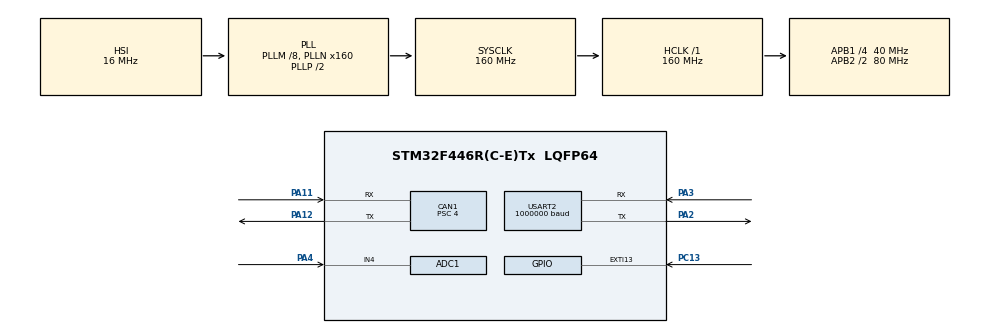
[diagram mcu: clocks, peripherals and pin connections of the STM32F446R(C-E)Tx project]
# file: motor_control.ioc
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ADC1.Channel-1\#ChannelRegularConversion=ADC_CHANNEL_4
ADC1.DMAContinuousRequests=ENABLE
ADC1.NbrOfConversionFlag=1
ADC1.Rank-1\#ChannelRegularConversion=1
ADC1.SamplingTime-1\#ChannelRegularConversion=ADC_SAMPLETIME_3CYCLES
ADC1.ScanConvMode=ENABLE
ADC1.master=1
CAN1.BS1=CAN_BS1_8TQ
CAN1.CalculateBaudRate=1000000
CAN1.CalculateTimeBit=1000
CAN1.CalculateTimeQuantum=100.0
CAN1.Prescaler=4
Dma.ADC1.2.Direction=DMA_PERIPH_TO_MEMORY
Dma.ADC1.2.FIFOMode=DMA_FIFOMODE_DISABLE
Dma.ADC1.2.Instance=DMA2_Stream0
Dma.ADC1.2.MemDataAlignment=DMA_MDATAALIGN_HALFWORD
Dma.ADC1.2.MemInc=DMA_MINC_ENABLE
Dma.ADC1.2.Mode=DMA_CIRCULAR
Dma.ADC1.2.PeriphDataAlignment=DMA_PDATAALIGN_HALFWORD
Dma.ADC1.2.PeriphInc=DMA_PINC_DISABLE
Dma.ADC1.2.Priority=DMA_PRIORITY_LOW
Dma.Request0=USART2_TX
Dma.Request1=USART2_RX
Dma.Request2=ADC1
Dma.USART2_RX.1.Direction=DMA_PERIPH_TO_MEMORY
Dma.USART2_RX.1.FIFOMode=DMA_FIFOMODE_DISABLE
Dma.USART2_RX.1.Instance=DMA1_Stream5
Dma.USART2_RX.1.MemDataAlignment=DMA_MDATAALIGN_BYTE
Dma.USART2_RX.1.MemInc=DMA_MINC_ENABLE
Dma.USART2_RX.1.Mode=DMA_CIRCULAR
Dma.USART2_RX.1.PeriphDataAlignment=DMA_PDATAALIGN_BYTE
Dma.USART2_RX.1.PeriphInc=DMA_PINC_DISABLE
Dma.USART2_RX.1.Priority=DMA_PRIORITY_LOW
Dma.USART2_TX.0.Direction=DMA_MEMORY_TO_PERIPH
Dma.USART2_TX.0.FIFOMode=DMA_FIFOMODE_DISABLE
Dma.USART2_TX.0.Instance=DMA1_Stream6
Dma.USART2_TX.0.MemDataAlignment=DMA_MDATAALIGN_BYTE
Dma.USART2_TX.0.MemInc=DMA_MINC_ENABLE
Dma.USART2_TX.0.Mode=DMA_NORMAL
Dma.USART2_TX.0.PeriphDataAlignment=DMA_PDATAALIGN_BYTE
Dma.USART2_TX.0.PeriphInc=DMA_PINC_DISABLE
Dma.USART2_TX.0.Priority=DMA_PRIORITY_LOW
Mcu.Family=STM32F4
Mcu.Name=STM32F446R(C-E)Tx
Mcu.Package=LQFP64
NVIC.CAN1_RX0_IRQn=true\:0\:0\:false\:false\:true\:true\:true\:true
NVIC.DMA1_Stream5_IRQn=true\:0\:0\:false\:false\:true\:false\:true\:true
NVIC.DMA1_Stream6_IRQn=true\:0\:0\:false\:false\:true\:false\:true\:true
NVIC.DMA2_Stream0_IRQn=true\:0\:0\:false\:false\:true\:false\:true\:true
NVIC.PriorityGroup=NVIC_PRIORITYGROUP_4
NVIC.TIM4_IRQn=true\:0\:0\:false\:false\:true\:true\:true\:true
NVIC.TIM5_IRQn=true\:0\:0\:false\:false\:true\:true\:true\:true
NVIC.USART2_IRQn=true\:0\:0\:false\:false\:true\:true\:true\:true
PA11.Mode=CAN_Activate
PA11.Signal=CAN1_RX
PA12.Mode=CAN_Activate
PA12.Signal=CAN1_TX
PA2.Mode=Asynchronous
PA2.Signal=USART2_TX
PA3.Mode=Asynchronous
PA3.Signal=USART2_RX
PA4.Signal=ADCx_IN4
PC13.Signal=GPXTI13
PH0-OSC_IN.Mode=HSE-External-Oscillator
PH0-OSC_IN.Signal=RCC_OSC_IN
PH1-OSC_OUT.Mode=HSE-External-Oscillator
PH1-OSC_OUT.Signal=RCC_OSC_OUT
ProjectManager.HeapSize=0x200
ProjectManager.StackSize=0x400
ProjectManager.TargetToolchain=EWARM V8.32
RCC.AHBFreq_Value=160000000
RCC.APB1CLKDivider=RCC_HCLK_DIV4
RCC.APB1Freq_Value=40000000
RCC.APB1TimFreq_Value=80000000
RCC.APB2CLKDivider=RCC_HCLK_DIV2
RCC.APB2Freq_Value=80000000
RCC.APB2TimFreq_Value=160000000
RCC.CortexFreq_Value=160000000
RCC.HCLKFreq_Value=160000000
RCC.HSE_VALUE=8000000
RCC.PLLM=8
RCC.PLLN=160
RCC.SYSCLKFreq_VALUE=160000000
RCC.SYSCLKSource=RCC_SYSCLKSOURCE_PLLCLK
RCC.USBFreq_Value=160000000
RCC.VCOOutputFreq_Value=320000000
SH.ADCx_IN4.0=ADC1_IN4,IN4
TIM4.Period=39999
TIM4.Prescaler=1
TIM5.Period=199999
TIM5.Prescaler=1
TIM7.Period=65535
TIM7.Prescaler=79
USART2.BaudRate=1000000
USART2.VirtualMode=VM_ASYNC
VP_TIM4_VS_ClockSourceINT.Mode=Internal
VP_TIM5_VS_ClockSourceINT.Mode=Internal
VP_TIM5_VS_ClockSourceITR.Mode=TriggerSource_ITR2
VP_TIM7_VS_ClockSourceINT.Mode=Enable_Timer
board=custom

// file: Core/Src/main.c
/* USER CODE BEGIN Header */
/**
******************************************************************************
* @file           : main.c
* @brief          : Main program body
******************************************************************************
* @attention
*
* <h2><center>&copy; Copyright (c) 2021 STMicroelectronics.
* All rights reserved.</center></h2>
*
* This software component is licensed by ST under BSD 3-Clause license,
* the "License"; You may not use this file except in compliance with the
* License. You may obtain a copy of the License at:
*                        opensource.org/licenses/BSD-3-Clause
*
******************************************************************************
*/
/* USER CODE END Header */
#include "main.h"

/* USER CODE BEGIN Includes */
#include "PID.h"
#include "math.h"
#include "string.h"
#include "stdlib.h"
#include "Functions/extra_motor_function.h"
#include "Functions/servo_sending.h"
#include "Functions/servo_receiving.h"
#include "Functions/motor_control_demos.h"
/* USER CODE END Includes */

/* USER CODE BEGIN PD */
#define M_PI 3.14159265358979323846
#define TX_DATA_LEN 14 // [bytes] Including 4 bytes for padding, [clock2(2), current(4), target(4)]
#define RX_BUF_LEN 21 // [bytes]
#define MOTOR_ID 1

/* Controller parameters */
/* Derivative low-pass filter time constant */
#define PID_TAU 0.0318f

/* Output limits */
#define PID_LIM_MIN -50.0f
#define PID_LIM_MAX  50.0f

/* Sample time (in seconds) */
#define SAMPLE_TIME_S 0.05f
/* USER CODE END PD */

 ADC_HandleTypeDef hadc1;
DMA_HandleTypeDef hdma_adc1;

CAN_HandleTypeDef hcan1;

TIM_HandleTypeDef htim4;
TIM_HandleTypeDef htim5;
TIM_HandleTypeDef htim7;

UART_HandleTypeDef huart2;
DMA_HandleTypeDef hdma_usart2_tx;
DMA_HandleTypeDef hdma_usart2_rx;

/* USER CODE BEGIN PV */
/* Initialise PID controller */
/* Controller gains */
float PID_KP = 0.4;
float PID_KI = 0.04;
float PID_KD = 0.03;
float PID_LIM_MIN_INT = -70;
float PID_LIM_MAX_INT = 70;

PIDController pid = { &PID_KP, &PID_KI, &PID_KD,
                      PID_TAU,
                      PID_LIM_MIN, PID_LIM_MAX,
                      &PID_LIM_MIN_INT, &PID_LIM_MAX_INT,
                      SAMPLE_TIME_S };

uint8_t txData[TX_DATA_LEN];

char rxDataDMA[RX_BUF_LEN];
char rxData[RX_BUF_LEN];
uint8_t rxCnt = 0;

//clock
uint16_t clock1 = 0;
uint16_t clock1Prev = 0;
uint16_t clock1Resolution = 65535;
uint16_t clock1Peak = 0;
uint16_t clock1PeakPrev = 0;

uint16_t clock2 = 0;
uint16_t timeSec = 0;

volatile uint16_t tim4_cycle_time;
uint16_t tim4_cycle_time_max;

//adc filter
uint16_t freqSampling = 1000;
uint16_t freqCutoff = 100;
float T, tau, cutoff, a, b, c;

uint16_t adcValue = 0;
uint16_t adcValuePrev = 0;
float loadFiltered = 0.0;
float loadFilteredPrev = 0.0;
float target = 0.0;

float f = 1000000;

//CAN and Motor
uint8_t buffer[8] = {0,0,0,0,0,0,0,0};
CAN_RxHeaderTypeDef   Rx0Header;
uint8_t               Rx0Data[8];

uint8_t Initialization=0;
uint8_t control_mode= 14;
uint8_t controller_id = 1;

float motor_pos;
float motor_spd;
float motor_cur;
int8_t motor_temp;
int8_t motor_error;

float rpm=300.0f;
float position=180.0f;
float acceleration = 100.0f;
float current = 0.0f;
float duty = 0.0f;

/* USER CODE END PV */

void SystemClock_Config(void);
static void MX_GPIO_Init(void);
static void MX_DMA_Init(void);
static void MX_TIM7_Init(void);
static void MX_USART2_UART_Init(void);
static void MX_ADC1_Init(void);
static void MX_CAN1_Init(void);
static void MX_TIM4_Init(void);
static void MX_TIM5_Init(void);

/* USER CODE BEGIN 0 */
#define get_dma_data_length() huart2.hdmarx->Instance->NDTR
#define get_dma_total_size()  huart2.RxXferSize

void UART_RX_DMA_Handler(){
  uint32_t rx_size;

  rx_size = 0;

    if (rx_size > 0){
      if (rxData[0] == 0xAA){
        memcpy(&PID_KP, rxData+1, 4);
        memcpy(&PID_KI, rxData+5, 4);
        memcpy(&PID_KD, rxData+9, 4);
        memcpy(&PID_LIM_MIN_INT, rxData+13, 4);
        memcpy(&PID_LIM_MAX_INT, rxData+17, 4);
      }
      if (rxData[0] == 0xFE){
        Initialization = 1;
      }
    }
  }

void HAL_CAN_RxFifo0MsgPendingCallback(CAN_HandleTypeDef *hcan){
  if(HAL_CAN_GetRxMessage(hcan, CAN_RX_FIFO0, &Rx0Header, Rx0Data) == HAL_OK){
    motor_receive(Rx0Data);
  }
}

void HAL_GPIO_EXTI_Callback(uint16_t GPIO_Pin){
  if(GPIO_Pin == GPIO_PIN_13){
    HAL_TIM_Base_Stop_IT(&htim4);
    HAL_TIM_Base_Stop_IT(&htim5);
    exit_motor_mode_servo(controller_id);                                 //exit

    }
 }

float Period = 1.0;
float amplitude = 300;
float offset = 40;
void HAL_TIM_PeriodElapsedCallback(TIM_HandleTypeDef *htim){
  if (htim->Instance == TIM5){ //200Hz
    //current = PIDController_Update(&pid,target, loadFiltered);
    //duty = 0.01f * PIDController_Update(&pid,target, loadFiltered);
    //comm_can_set_duty(controller_id, duty);
    //comm_can_set_current(controller_id, current);

    //comm_can_set_rpm(controller_id, rpm);
  }
  if (htim->Instance == TIM4) { // 1kHz
    duty = 0.01f * PIDController_Update(&pid,target, loadFiltered);
    comm_can_set_duty(controller_id, duty);
    //target profile

    if (clock2<150 || clock2 >600) target = offset;
    else if (150 < clock2 & clock2<300)
    {
      target = offset + 0.5 *amplitude * sinf(((float)clock2-150.0)/300.0*M_PI);
    }
    else if (300 <= clock2 & clock2<450)
    {
      target = offset+ 0.75*amplitude - 0.25*amplitude*cosf(((float)clock2-300.0)/150.0*M_PI);
    }
    else if (450 <= clock2 & clock2<600)
    {
      target = offset + 0.5*amplitude + amplitude/2*cosf(((float)clock2-450.0)/150.0*M_PI);
    }
    //target = 100;

    //filter adc
    T = (float)1/freqSampling;
    cutoff = 2 * M_PI * freqCutoff;
    tau = 1 / cutoff;
    a = cutoff/(2/T+cutoff);
    b = a;
    c = (2/T - cutoff)/(2/T+cutoff);

    loadFiltered=a*adcValue + b*adcValuePrev + c*loadFilteredPrev;

    loadFilteredPrev = loadFiltered;
    adcValuePrev = adcValue;

    // clock
    clock1 = TIM7->CNT; // 1MHz
    HAL_ADC_Start(&hadc1);
    clock2 ++;
    if (clock2 == 1000){
      timeSec ++;
      clock2 = 0;
    }

    if (clock1Prev - clock1 > clock1Resolution/2) clock1Peak++;
    else if (clock1 - clock1Prev > clock1Resolution/2) clock1Peak--;

    if (Initialization == 1){
      timeSec = 0;
      Initialization = 0;
    }

    if (timeSec == 9){
      HAL_TIM_Base_Start_IT(&htim5);
    }

    // USART Send Raw Data
    memcpy(txData + 2, &clock2, 2);
    memcpy(txData + 4, &loadFiltered, 4);
    memcpy(txData + 8, &target, 4);

    HAL_UART_Transmit_DMA(&huart2, txData, TX_DATA_LEN);
    UART_RX_DMA_Handler();

    // Real-time interrupt load check
    tim4_cycle_time = htim4.Instance->CNT;
    if(tim4_cycle_time_max < tim4_cycle_time) tim4_cycle_time_max = tim4_cycle_time;
  }

}

/* USER CODE END 0 */

int main(void)
{

  /* MCU Configuration--------------------------------------------------------*/

  /* Reset of all peripherals, Initializes the Flash interface and the Systick. */
  HAL_Init();

  /* Configure the system clock */
  SystemClock_Config();

  /* Initialize all configured peripherals */
  MX_GPIO_Init();
  MX_DMA_Init();
  MX_TIM7_Init();
  MX_USART2_UART_Init();
  MX_ADC1_Init();
  MX_CAN1_Init();
  MX_TIM4_Init();
  MX_TIM5_Init();
  /* USER CODE BEGIN 2 */
  // [[ CAN Init ]]
  // This mcu is CANOpen Master. So it should receive all can frame.
  CAN_FilterTypeDef sFilterConfig0;
  sFilterConfig0.FilterBank = 0;
  sFilterConfig0.FilterMode = CAN_FILTERMODE_IDMASK;
  sFilterConfig0.FilterScale = CAN_FILTERSCALE_16BIT;
  sFilterConfig0.FilterIdLow = 0x0000;
  sFilterConfig0.FilterMaskIdLow = 0x0000;
  sFilterConfig0.FilterIdHigh = 0x0000;
  sFilterConfig0.FilterMaskIdHigh = 0x0000;
  sFilterConfig0.FilterFIFOAssignment = CAN_RX_FIFO0;
  sFilterConfig0.FilterActivation = ENABLE;
  HAL_CAN_ConfigFilter(&hcan1, &sFilterConfig0);

  HAL_CAN_Start(&hcan1);
  HAL_CAN_ActivateNotification(&hcan1, CAN_IT_RX_FIFO0_MSG_PENDING);

  //Timer
  HAL_TIM_Base_Start(&htim7);

  // [[ Start main loop ]] (200Hz)
  gravity_compensation_initialize(controller_id);
  HAL_TIM_Base_Start_IT(&htim4);
  HAL_UART_Receive_DMA(&huart2, rxDataDMA, RX_BUF_LEN);

  HAL_ADC_Start_DMA(&hadc1, (uint32_t*)&adcValue, 1);

  txData[0] = 0xAA;
  txData[1] = 0xAA;
  txData[TX_DATA_LEN-2] = 0xBB;
  txData[TX_DATA_LEN-1] = 0xBB;

  PIDController_Init(&pid);

  /* USER CODE END 2 */

  /* Infinite loop */
  while (1)
  {

  }
}

void SystemClock_Config(void)
{
  RCC_OscInitTypeDef RCC_OscInitStruct = {0};
  RCC_ClkInitTypeDef RCC_ClkInitStruct = {0};

  /** Configure the main internal regulator output voltage
  */
  __HAL_RCC_PWR_CLK_ENABLE();
  __HAL_PWR_VOLTAGESCALING_CONFIG(PWR_REGULATOR_VOLTAGE_SCALE1);

  /** Initializes the RCC Oscillators according to the specified parameters
  * in the RCC_OscInitTypeDef structure.
  */
  RCC_OscInitStruct.OscillatorType = RCC_OSCILLATORTYPE_HSI;
  RCC_OscInitStruct.HSIState = RCC_HSI_ON;
  RCC_OscInitStruct.HSICalibrationValue = RCC_HSICALIBRATION_DEFAULT;
  RCC_OscInitStruct.PLL.PLLState = RCC_PLL_ON;
  RCC_OscInitStruct.PLL.PLLSource = RCC_PLLSOURCE_HSI;
  RCC_OscInitStruct.PLL.PLLM = 8;
  RCC_OscInitStruct.PLL.PLLN = 160;
  RCC_OscInitStruct.PLL.PLLP = RCC_PLLP_DIV2;
  RCC_OscInitStruct.PLL.PLLQ = 2;
  RCC_OscInitStruct.PLL.PLLR = 2;
  if (HAL_RCC_OscConfig(&RCC_OscInitStruct) != HAL_OK)
  {
    Error_Handler();
  }

  /** Initializes the CPU, AHB and APB buses clocks
  */
  RCC_ClkInitStruct.ClockType = RCC_CLOCKTYPE_HCLK|RCC_CLOCKTYPE_SYSCLK
                              |RCC_CLOCKTYPE_PCLK1|RCC_CLOCKTYPE_PCLK2;
  RCC_ClkInitStruct.SYSCLKSource = RCC_SYSCLKSOURCE_PLLCLK;
  RCC_ClkInitStruct.AHBCLKDivider = RCC_SYSCLK_DIV1;
  RCC_ClkInitStruct.APB1CLKDivider = RCC_HCLK_DIV4;
  RCC_ClkInitStruct.APB2CLKDivider = RCC_HCLK_DIV2;

  if (HAL_RCC_ClockConfig(&RCC_ClkInitStruct, FLASH_LATENCY_5) != HAL_OK)
  {
    Error_Handler();
  }
}

static void MX_ADC1_Init(void)
{

  ADC_ChannelConfTypeDef sConfig = {0};

  /** Configure the global features of the ADC (Clock, Resolution, Data Alignment and number of conversion)
  */
  hadc1.Instance = ADC1;
  hadc1.Init.ClockPrescaler = ADC_CLOCK_SYNC_PCLK_DIV4;
  hadc1.Init.Resolution = ADC_RESOLUTION_12B;
  hadc1.Init.ScanConvMode = ENABLE;
  hadc1.Init.ContinuousConvMode = DISABLE;
  hadc1.Init.DiscontinuousConvMode = DISABLE;
  hadc1.Init.ExternalTrigConvEdge = ADC_EXTERNALTRIGCONVEDGE_NONE;
  hadc1.Init.ExternalTrigConv = ADC_SOFTWARE_START;
  hadc1.Init.DataAlign = ADC_DATAALIGN_RIGHT;
  hadc1.Init.NbrOfConversion = 1;
  hadc1.Init.DMAContinuousRequests = ENABLE;
  hadc1.Init.EOCSelection = ADC_EOC_SINGLE_CONV;
  if (HAL_ADC_Init(&hadc1) != HAL_OK)
  {
    Error_Handler();
  }

  /** Configure for the selected ADC regular channel its corresponding rank in the sequencer and its sample time.
  */
  sConfig.Channel = ADC_CHANNEL_4;
  sConfig.Rank = 1;
  sConfig.SamplingTime = ADC_SAMPLETIME_3CYCLES;
  if (HAL_ADC_ConfigChannel(&hadc1, &sConfig) != HAL_OK)
  {
    Error_Handler();
  }

}

static void MX_CAN1_Init(void)
{

  hcan1.Instance = CAN1;
  hcan1.Init.Prescaler = 4;
  hcan1.Init.Mode = CAN_MODE_NORMAL;
  hcan1.Init.SyncJumpWidth = CAN_SJW_1TQ;
  hcan1.Init.TimeSeg1 = CAN_BS1_8TQ;
  hcan1.Init.TimeSeg2 = CAN_BS2_1TQ;
  hcan1.Init.TimeTriggeredMode = DISABLE;
  hcan1.Init.AutoBusOff = DISABLE;
  hcan1.Init.AutoWakeUp = DISABLE;
  hcan1.Init.AutoRetransmission = DISABLE;
  hcan1.Init.ReceiveFifoLocked = DISABLE;
  hcan1.Init.TransmitFifoPriority = DISABLE;
  if (HAL_CAN_Init(&hcan1) != HAL_OK)
  {
    Error_Handler();
  }

}

static void MX_TIM4_Init(void)
{

  TIM_ClockConfigTypeDef sClockSourceConfig = {0};
  TIM_MasterConfigTypeDef sMasterConfig = {0};

  htim4.Instance = TIM4;
  htim4.Init.Prescaler = 1;
  htim4.Init.CounterMode = TIM_COUNTERMODE_UP;
  htim4.Init.Period = 39999;
  htim4.Init.ClockDivision = TIM_CLOCKDIVISION_DIV1;
  htim4.Init.AutoReloadPreload = TIM_AUTORELOAD_PRELOAD_DISABLE;
  if (HAL_TIM_Base_Init(&htim4) != HAL_OK)
  {
    Error_Handler();
  }
  sClockSourceConfig.ClockSource = TIM_CLOCKSOURCE_INTERNAL;
  if (HAL_TIM_ConfigClockSource(&htim4, &sClockSourceConfig) != HAL_OK)
  {
    Error_Handler();
  }
  sMasterConfig.MasterOutputTrigger = TIM_TRGO_RESET;
  sMasterConfig.MasterSlaveMode = TIM_MASTERSLAVEMODE_DISABLE;
  if (HAL_TIMEx_MasterConfigSynchronization(&htim4, &sMasterConfig) != HAL_OK)
  {
    Error_Handler();
  }

}

static void MX_TIM5_Init(void)
{

  TIM_ClockConfigTypeDef sClockSourceConfig = {0};
  TIM_SlaveConfigTypeDef sSlaveConfig = {0};
  TIM_MasterConfigTypeDef sMasterConfig = {0};

  htim5.Instance = TIM5;
  htim5.Init.Prescaler = 1;
  htim5.Init.CounterMode = TIM_COUNTERMODE_UP;
  htim5.Init.Period = 199999;
  htim5.Init.ClockDivision = TIM_CLOCKDIVISION_DIV1;
  htim5.Init.AutoReloadPreload = TIM_AUTORELOAD_PRELOAD_DISABLE;
  if (HAL_TIM_Base_Init(&htim5) != HAL_OK)
  {
    Error_Handler();
  }
  sClockSourceConfig.ClockSource = TIM_CLOCKSOURCE_INTERNAL;
  if (HAL_TIM_ConfigClockSource(&htim5, &sClockSourceConfig) != HAL_OK)
  {
    Error_Handler();
  }
  sSlaveConfig.SlaveMode = TIM_SLAVEMODE_DISABLE;
  sSlaveConfig.InputTrigger = TIM_TS_ITR2;
  if (HAL_TIM_SlaveConfigSynchro(&htim5, &sSlaveConfig) != HAL_OK)
  {
    Error_Handler();
  }
  sMasterConfig.MasterOutputTrigger = TIM_TRGO_RESET;
  sMasterConfig.MasterSlaveMode = TIM_MASTERSLAVEMODE_DISABLE;
  if (HAL_TIMEx_MasterConfigSynchronization(&htim5, &sMasterConfig) != HAL_OK)
  {
    Error_Handler();
  }

}

static void MX_TIM7_Init(void)
{

  TIM_MasterConfigTypeDef sMasterConfig = {0};

  htim7.Instance = TIM7;
  htim7.Init.Prescaler = 79;
  htim7.Init.CounterMode = TIM_COUNTERMODE_UP;
  htim7.Init.Period = 65535;
  htim7.Init.AutoReloadPreload = TIM_AUTORELOAD_PRELOAD_DISABLE;
  if (HAL_TIM_Base_Init(&htim7) != HAL_OK)
  {
    Error_Handler();
  }
  sMasterConfig.MasterOutputTrigger = TIM_TRGO_RESET;
  sMasterConfig.MasterSlaveMode = TIM_MASTERSLAVEMODE_DISABLE;
  if (HAL_TIMEx_MasterConfigSynchronization(&htim7, &sMasterConfig) != HAL_OK)
  {
    Error_Handler();
  }

}

static void MX_USART2_UART_Init(void)
{

  huart2.Instance = USART2;
  huart2.Init.BaudRate = 1000000;
  huart2.Init.WordLength = UART_WORDLENGTH_8B;
  huart2.Init.StopBits = UART_STOPBITS_1;
  huart2.Init.Parity = UART_PARITY_NONE;
  huart2.Init.Mode = UART_MODE_TX_RX;
  huart2.Init.HwFlowCtl = UART_HWCONTROL_NONE;
  huart2.Init.OverSampling = UART_OVERSAMPLING_16;
  if (HAL_UART_Init(&huart2) != HAL_OK)
  {
    Error_Handler();
  }

}

static void MX_DMA_Init(void)
{

  /* DMA controller clock enable */
  __HAL_RCC_DMA1_CLK_ENABLE();
  __HAL_RCC_DMA2_CLK_ENABLE();

  /* DMA interrupt init */
  /* DMA1_Stream5_IRQn interrupt configuration */
  HAL_NVIC_SetPriority(DMA1_Stream5_IRQn, 0, 0);
  HAL_NVIC_EnableIRQ(DMA1_Stream5_IRQn);
  /* DMA1_Stream6_IRQn interrupt configuration */
  HAL_NVIC_SetPriority(DMA1_Stream6_IRQn, 0, 0);
  HAL_NVIC_EnableIRQ(DMA1_Stream6_IRQn);
  /* DMA2_Stream0_IRQn interrupt configuration */
  HAL_NVIC_SetPriority(DMA2_Stream0_IRQn, 0, 0);
  HAL_NVIC_EnableIRQ(DMA2_Stream0_IRQn);

}

static void MX_GPIO_Init(void)
{
  GPIO_InitTypeDef GPIO_InitStruct = {0};

  /* GPIO Ports Clock Enable */
  __HAL_RCC_GPIOC_CLK_ENABLE();
  __HAL_RCC_GPIOH_CLK_ENABLE();
  __HAL_RCC_GPIOA_CLK_ENABLE();

  /*Configure GPIO pin : PC13 */
  GPIO_InitStruct.Pin = GPIO_PIN_13;
  GPIO_InitStruct.Mode = GPIO_MODE_IT_RISING;
  GPIO_InitStruct.Pull = GPIO_NOPULL;
  HAL_GPIO_Init(GPIOC, &GPIO_InitStruct);

}

void Error_Handler(void)
{
  __disable_irq();
  while (1)
  {
  }
}
